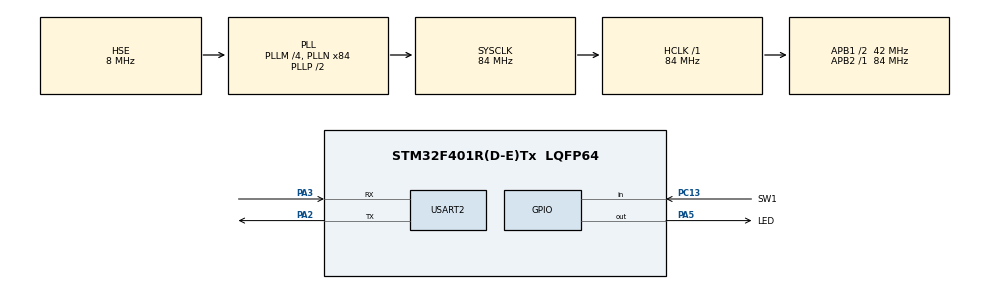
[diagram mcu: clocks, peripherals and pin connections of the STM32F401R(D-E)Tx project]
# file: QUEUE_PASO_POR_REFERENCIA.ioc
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Mcu.Family=STM32F4
Mcu.Name=STM32F401R(D-E)Tx
Mcu.Package=LQFP64
NVIC.PriorityGroup=NVIC_PRIORITYGROUP_4
NVIC.TIM1_TRG_COM_TIM11_IRQn=true\:15\:0\:false\:false\:true\:false\:true\:true
NVIC.TimeBase=TIM1_TRG_COM_TIM11_IRQn
NVIC.TimeBaseIP=TIM11
NVIC.USART2_IRQn=true\:0\:0\:false\:false\:true\:true\:true\:true
PA2.Mode=Asynchronous
PA2.Signal=USART2_TX
PA3.Mode=Asynchronous
PA3.Signal=USART2_RX
PA5.GPIO_Label=LED
PA5.Signal=GPIO_Output
PC13-ANTI_TAMP.GPIO_Label=SW1
PC13-ANTI_TAMP.Signal=GPIO_Input
PH0\ -\ OSC_IN.Mode=HSE-External-Clock-Source
PH0\ -\ OSC_IN.Signal=RCC_OSC_IN
PH1\ -\ OSC_OUT.Mode=HSE-External-Clock-Source
PH1\ -\ OSC_OUT.Signal=RCC_OSC_OUT
ProjectManager.HeapSize=0x200
ProjectManager.StackSize=0x400
ProjectManager.TargetToolchain=STM32CubeIDE
RCC.48MHZClocksFreq_Value=42000000
RCC.AHBFreq_Value=84000000
RCC.APB1CLKDivider=RCC_HCLK_DIV2
RCC.APB1Freq_Value=42000000
RCC.APB1TimFreq_Value=84000000
RCC.APB2Freq_Value=84000000
RCC.APB2TimFreq_Value=84000000
RCC.CortexFreq_Value=84000000
RCC.HCLKFreq_Value=84000000
RCC.HSE_VALUE=8000000
RCC.HSI_VALUE=16000000
RCC.LSE_VALUE=32768
RCC.PLLM=4
RCC.PLLN=84
RCC.PLLSourceVirtual=RCC_PLLSOURCE_HSE
RCC.SYSCLKFreq_VALUE=84000000
RCC.SYSCLKSource=RCC_SYSCLKSOURCE_PLLCLK
RCC.VCOOutputFreq_Value=168000000
USART2.VirtualMode=VM_ASYNC
VP_SYS_VS_tim11.Mode=TIM11
board=custom

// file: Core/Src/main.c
/* USER CODE BEGIN Header */
/**
  ******************************************************************************
  * @file           : main.c
  * @brief          : Main program body
  ******************************************************************************
  * @attention
  *
  * Copyright (c) 2022 STMicroelectronics.
  * All rights reserved.
  *
  * This software is licensed under terms that can be found in the LICENSE file
  * in the root directory of this software component.
  * If no LICENSE file comes with this software, it is provided AS-IS.
  *
  ******************************************************************************
  */
/* USER CODE END Header */
#include "main.h"
#include "usart.h"
#include "gpio.h"

/* USER CODE BEGIN Includes */
#include "FreeRTOS.h"
#include "task.h"
#include "cmsis_os.h"
#include "queue.h"
#include <stdio.h>
#include <stdarg.h>
#include <string.h>
/* USER CODE END Includes */

/* USER CODE BEGIN PTD */
typedef struct{
	uint8_t sw;			//informacion sobre el pulsador
	uint8_t led;			//estado deseado del led
	uint32_t msDelay;		//tiempo de encendido/apagado del led
	uint8_t str[40];		//mensaje de texto
}LedSate_t;
/* USER CODE END PTD */

/* USER CODE BEGIN PM */
/**
 * 0 : no se desea usar segger system view
 * 1 : se usa para la depuracion
 */
#define SYSTEM_VIEW				1
/* USER CODE END PM */

/* USER CODE BEGIN PV */
TaskHandle_t task1_handle;

QueueHandle_t xLedQueue;
LedSate_t led;
/* USER CODE END PV */

void SystemClock_Config(void);
/* USER CODE BEGIN PFP */
void Task1(void *params);
void Task2(void *params);

void UART_Printf(char *format,...);
/* USER CODE END PFP */

int main(void)
{
  /* USER CODE BEGIN 1 */
	BaseType_t status;
  /* USER CODE END 1 */

  /* MCU Configuration--------------------------------------------------------*/

  /* Reset of all peripherals, Initializes the Flash interface and the Systick. */
  HAL_Init();

  /* Configure the system clock */
  SystemClock_Config();

  /* Initialize all configured peripherals */
  MX_GPIO_Init();
  MX_USART2_UART_Init();
  /* USER CODE BEGIN 2 */
#if SYSTEM_VIEW
//  NVIC_SetPriorityGrouping(0);
  DWT->CTRL |= 1;
  SEGGER_SYSVIEW_Conf();
  /*solo se va usar cuando se trabaje en modo one shot*/
//  SEGGER_SYSVIEW_Start();

#endif

  status = xTaskCreate(Task1,
		  	  	  	  "tarea 1",
					  500,
					  "hola mundo\r\n",
					  3,
					  &task1_handle);
  configASSERT(status == pdPASS);

  status = xTaskCreate(Task2,
		  	  	  	  "tarea 2",
					  500,
					  NULL,
					  3,
					  NULL);
  configASSERT(status == pdPASS);

  xLedQueue = xQueueCreate(5, sizeof(LedSate_t*));
  /* inicializa el kernel*/
  osKernelStart();
  /* USER CODE END 2 */

  /* Infinite loop */
  while (1)
  {

  }
}

void SystemClock_Config(void)
{
  RCC_OscInitTypeDef RCC_OscInitStruct = {0};
  RCC_ClkInitTypeDef RCC_ClkInitStruct = {0};

  /** Configure the main internal regulator output voltage
  */
  __HAL_RCC_PWR_CLK_ENABLE();
  __HAL_PWR_VOLTAGESCALING_CONFIG(PWR_REGULATOR_VOLTAGE_SCALE2);

  /** Initializes the RCC Oscillators according to the specified parameters
  * in the RCC_OscInitTypeDef structure.
  */
  RCC_OscInitStruct.OscillatorType = RCC_OSCILLATORTYPE_HSE;
  RCC_OscInitStruct.HSEState = RCC_HSE_BYPASS;
  RCC_OscInitStruct.PLL.PLLState = RCC_PLL_ON;
  RCC_OscInitStruct.PLL.PLLSource = RCC_PLLSOURCE_HSE;
  RCC_OscInitStruct.PLL.PLLM = 4;
  RCC_OscInitStruct.PLL.PLLN = 84;
  RCC_OscInitStruct.PLL.PLLP = RCC_PLLP_DIV2;
  RCC_OscInitStruct.PLL.PLLQ = 4;
  if (HAL_RCC_OscConfig(&RCC_OscInitStruct) != HAL_OK)
  {
    Error_Handler();
  }

  /** Initializes the CPU, AHB and APB buses clocks
  */
  RCC_ClkInitStruct.ClockType = RCC_CLOCKTYPE_HCLK|RCC_CLOCKTYPE_SYSCLK
                              |RCC_CLOCKTYPE_PCLK1|RCC_CLOCKTYPE_PCLK2;
  RCC_ClkInitStruct.SYSCLKSource = RCC_SYSCLKSOURCE_PLLCLK;
  RCC_ClkInitStruct.AHBCLKDivider = RCC_SYSCLK_DIV1;
  RCC_ClkInitStruct.APB1CLKDivider = RCC_HCLK_DIV2;
  RCC_ClkInitStruct.APB2CLKDivider = RCC_HCLK_DIV1;

  if (HAL_RCC_ClockConfig(&RCC_ClkInitStruct, FLASH_LATENCY_2) != HAL_OK)
  {
    Error_Handler();
  }
}

/* USER CODE BEGIN 4 */
void Task1(void *params){

	/*inicializacion*/

	LedSate_t *data = &led;

	/*loop*/
	while(1){
		if(HAL_GPIO_ReadPin(SW1_GPIO_Port, SW1_Pin) == 0){
			//se preciona el pulsador
			data->sw = 1;
			data->led = 1;
			strcpy((char*)data->str,"led encendido○\r\n");
		}else{
			data->sw = 0;
			data->led = 0;
			strcpy((char*)data->str,"led apagado\r\n");
		}
		data->msDelay = 100;
		//enviar la informacion
		if(xQueueSend(xLedQueue, &data, portMAX_DELAY) == pdTRUE){
			//comando enviado
			SEGGER_SYSVIEW_PrintfHost("mensaje enviado\r\n");
		}
		vTaskDelay(100);
	}
	/*Elimina la tarea*/
	vTaskDelete(NULL);
}
void Task2(void *params){
	LedSate_t *data;
	for(;;){
		if(xQueueReceive(xLedQueue, &data, portMAX_DELAY)== pdTRUE){
			//dato recibido
			SEGGER_SYSVIEW_PrintfHost("mensaje recibido\r\n");
			UART_Printf("estado del pulsador->%d\r\n",data->sw);
			UART_Printf("%s\r\n",data->str);

			HAL_GPIO_WritePin(LED_GPIO_Port, LED_Pin, data->led);
		}

	}
	/*Elimina la tarea*/
	vTaskDelete(NULL);
}

void UART_Printf(char *format,...){
    char str[80];

    /*Extract the the argument list using VA apis */
    va_list args;
    va_start(args, format);
    vsprintf(str, format,args);
    HAL_UART_Transmit(&huart2, (uint8_t*)str, strlen(str), 10);
    va_end(args);
}
/* USER CODE END 4 */

void HAL_TIM_PeriodElapsedCallback(TIM_HandleTypeDef *htim)
{
  if (htim->Instance == TIM11) {
    HAL_IncTick();
  }
}

void Error_Handler(void)
{
  __disable_irq();
  while (1)
  {
  }
}
